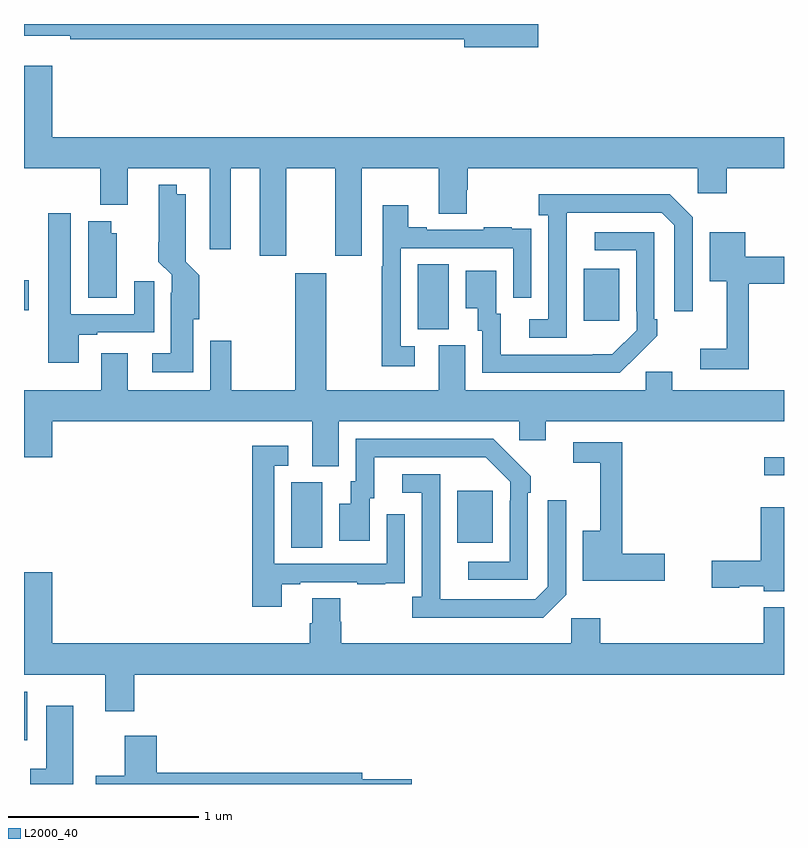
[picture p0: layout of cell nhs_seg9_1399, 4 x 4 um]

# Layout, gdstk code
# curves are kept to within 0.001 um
import gdstk
lib = gdstk.Library(unit=1e-6, precision=1e-09)
def R(c, l, rs):  # rectangles x0, y0, x1, y1
    for r in rs: c.add(gdstk.rectangle(r[:2], r[2:], *l))
def P(c, l, *ps):  # polygons
    for p in ps: c.add(gdstk.Polygon(p, *l))
L2000_40 = (2000, 40)

nhs_seg9_1399 = lib.new_cell('nhs_seg9_1399')
R(nhs_seg9_1399, L2000_40, [(189,1206.731,189.016,1206.985), (190.406,1207.744,190.57,1208.088), (191.279,1207.769,191.467,1208.044), (192.897,1208.124,193,1208.22), (191.072,1208.893,191.236,1209.236), (191.945,1208.937,192.133,1209.211), (189,1208.993,189.025,1209.151)])
P(nhs_seg9_1399, L2000_40, [(191.707,1210.5),(189,1210.5),(189,1210.439),(189.244,1210.439),(189.244,1210.42),(191.318,1210.42),(191.318,1210.378),(191.707,1210.378)],
  [(190.381,1209.74),(190.637,1209.74),(190.637,1209.279),(190.777,1209.279),(190.777,1209.74),(191.183,1209.74),(191.183,1209.502),(191.331,1209.502),(191.331,1209.627),(191.336,1209.627),(191.336,1209.74),(192.546,1209.74),(192.546,1209.609),(192.698,1209.609),(192.698,1209.74),(193,1209.74),(193,1209.904),(189.148,1209.904),(189.148,1210.279),(189,1210.279),(189,1209.74),(189.4,1209.74),(189.4,1209.548),(189.547,1209.548),(189.547,1209.74),(189.977,1209.74),(189.977,1209.315),(190.087,1209.315),(190.087,1209.74),(190.241,1209.74),(190.241,1209.279),(190.381,1209.279)],
  [(189.892,1208.946),(189.923,1208.946),(189.923,1209.178),(189.851,1209.25),(189.85,1209.604),(189.805,1209.604),(189.805,1209.655),(189.708,1209.655),(189.707,1209.25),(189.777,1209.18),(189.777,1209.086),(189.773,1209.086),(189.773,1208.767),(189.675,1208.767),(189.675,1208.666),(189.892,1208.666)],
  [(191.856,1209.307),(191.857,1209.507),(192.357,1209.507),(192.423,1209.441),(192.423,1208.988),(192.519,1208.988),(192.519,1209.483),(192.398,1209.604),(191.709,1209.604),(191.709,1209.494),(191.76,1209.494),(191.76,1208.946),(191.658,1208.946),(191.658,1208.85),(191.856,1208.85)],
  [(191.056,1208.805),(190.983,1208.805),(190.983,1209.321),(191.574,1209.321),(191.574,1209.06),(191.67,1209.06),(191.67,1209.314),(191.669,1209.314),(191.669,1209.423),(191.567,1209.423),(191.567,1209.43),(191.419,1209.43),(191.419,1209.417),(191.119,1209.417),(191.119,1209.43),(191.023,1209.43),(191.023,1209.547),(190.887,1209.547),(190.887,1209.224),(190.882,1209.224),(190.882,1208.7),(191.056,1208.7)],
  [(189.289,1208.865),(189.385,1208.865),(189.385,1208.877),(189.685,1208.877),(189.685,1209.145),(189.581,1209.145),(189.581,1208.973),(189.247,1208.973),(189.247,1209.505),(189.128,1209.505),(189.128,1208.718),(189.289,1208.718)],
  [(189.487,1209.399),(189.46,1209.399),(189.46,1209.463),(189.338,1209.463),(189.338,1209.058),(189.487,1209.058)],
  [(192.227,1208.755),(192.228,1208.754),(192.333,1208.859),(192.333,1208.947),(192.318,1208.947),(192.318,1209.405),(192.003,1209.405),(192.003,1209.309),(192.222,1209.309),(192.222,1208.989),(192.225,1208.989),(192.225,1208.889),(192.097,1208.761),(191.509,1208.76),(191.509,1208.976),(191.485,1208.976),(191.485,1209.202),(191.324,1209.202),(191.324,1209.005),(191.387,1209.005),(191.387,1208.886),(191.412,1208.886),(191.412,1208.664),(192.136,1208.664)],
  [(192.815,1209.134),(193,1209.134),(193,1209.276),(192.796,1209.276),(192.796,1209.403),(192.608,1209.403),(192.608,1209.146),(192.698,1209.146),(192.698,1208.791),(192.558,1208.791),(192.558,1208.682),(192.815,1208.682)],
  [(190.657,1208.408),(191.607,1208.408),(191.607,1208.31),(191.746,1208.31),(191.746,1208.408),(193,1208.408),(193,1208.572),(192.412,1208.572),(192.412,1208.67),(192.273,1208.67),(192.273,1208.572),(191.323,1208.572),(191.323,1208.808),(191.183,1208.808),(191.183,1208.572),(190.591,1208.572),(190.591,1209.187),(190.427,1209.187),(190.427,1208.572),(190.09,1208.572),(190.09,1208.833),(189.981,1208.833),(189.981,1208.572),(189.547,1208.572),(189.547,1208.767),(189.407,1208.767),(189.407,1208.572),(189,1208.572),(189,1208.22),(189.148,1208.22),(189.148,1208.408),(190.517,1208.408),(190.517,1208.173),(190.657,1208.173)],
  [(191.652,1208.033),(191.667,1208.033),(191.667,1208.121),(191.47,1208.316),(190.746,1208.316),(190.746,1208.094),(190.721,1208.094),(190.721,1207.975),(190.658,1207.975),(190.658,1207.779),(190.819,1207.779),(190.819,1208.004),(190.843,1208.004),(190.843,1208.22),(191.431,1208.22),(191.559,1208.091),(191.559,1207.991),(191.556,1207.991),(191.556,1207.671),(191.337,1207.671),(191.337,1207.575),(191.652,1207.575)],
  [(192.373,1207.712),(192.149,1207.712),(192.149,1208.298),(191.892,1208.298),(191.892,1208.19),(192.032,1208.19),(192.032,1207.834),(191.942,1207.834),(191.942,1207.57),(192.373,1207.57)],
  [(190.357,1207.551),(190.453,1207.551),(190.453,1207.563),(190.753,1207.563),(190.753,1207.551),(190.901,1207.551),(190.901,1207.557),(191.003,1207.557),(191.003,1207.666),(191.004,1207.666),(191.004,1207.921),(190.908,1207.921),(190.908,1207.659),(190.317,1207.659),(190.317,1208.175),(190.39,1208.175),(190.39,1208.281),(190.201,1208.281),(190.201,1207.434),(190.357,1207.434)],
  [(191.853,1207.497),(191.853,1207.993),(191.757,1207.993),(191.757,1207.539),(191.691,1207.473),(191.191,1207.473),(191.19,1208.13),(190.992,1208.13),(190.992,1208.034),(191.094,1208.034),(191.094,1207.486),(191.043,1207.486),(191.043,1207.376),(191.732,1207.376)],
  [(193,1207.957),(192.878,1207.957),(192.878,1207.676),(192.621,1207.676),(192.621,1207.534),(192.764,1207.534),(192.764,1207.541),(192.894,1207.541),(192.894,1207.514),(193,1207.514)],
  [(189.581,1207.076),(193,1207.076),(193,1207.429),(192.893,1207.429),(192.893,1207.24),(192.032,1207.24),(192.032,1207.372),(191.88,1207.372),(191.88,1207.24),(190.67,1207.24),(190.67,1207.353),(190.665,1207.353),(190.665,1207.478),(190.517,1207.478),(190.517,1207.346),(190.505,1207.346),(190.505,1207.24),(189.148,1207.24),(189.148,1207.615),(189,1207.615),(189,1207.076),(189.428,1207.076),(189.428,1206.882),(189.581,1206.882)],
  [(189.259,1206.913),(189.116,1206.913),(189.116,1206.58),(189.032,1206.58),(189.032,1206.5),(189.259,1206.5)],
  [(191.041,1206.524),(190.78,1206.524),(190.78,1206.56),(189.698,1206.56),(189.698,1206.754),(189.53,1206.754),(189.53,1206.543),(189.378,1206.543),(189.378,1206.5),(191.041,1206.5)])

lib.write_gds('nhs_seg9_1399.gds')
